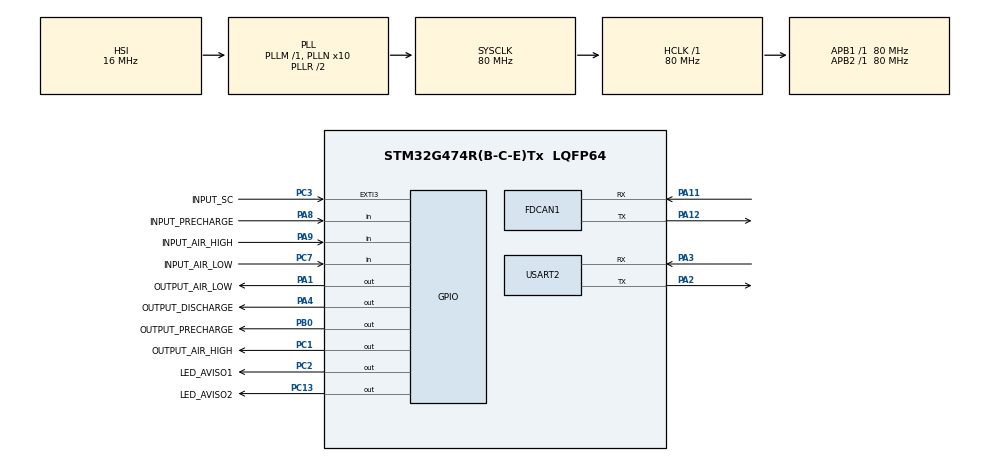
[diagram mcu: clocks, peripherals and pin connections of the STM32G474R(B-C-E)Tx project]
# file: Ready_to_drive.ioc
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FDCAN1.CalculateBaudRateNominal=1666666
FDCAN1.CalculateTimeBitNominal=600
FDCAN1.CalculateTimeQuantumNominal=200.0
FDCAN1.NominalPrescaler=16
FDCAN1.NominalTimeSeg1=1
FDCAN1.NominalTimeSeg2=1
Mcu.Family=STM32G4
Mcu.Name=STM32G474R(B-C-E)Tx
Mcu.Package=LQFP64
NVIC.EXTI3_IRQn=true\:0\:0\:false\:false\:true\:true\:true\:true
NVIC.FDCAN1_IT0_IRQn=true\:1\:0\:true\:false\:true\:true\:true\:true
NVIC.FDCAN1_IT1_IRQn=true\:1\:0\:true\:false\:true\:true\:true\:true
NVIC.PriorityGroup=NVIC_PRIORITYGROUP_4
PA1.GPIO_Label=OUTPUT_AIR_LOW
PA1.Signal=GPIO_Output
PA11.Mode=FDCAN_Activate
PA11.Signal=FDCAN1_RX
PA12.Mode=FDCAN_Activate
PA12.Signal=FDCAN1_TX
PA13.GPIO_Label=T_SWDIO
PA13.Mode=Trace_Asynchronous_SW
PA13.Signal=SYS_JTMS-SWDIO
PA14.GPIO_Label=T_SWCLK
PA14.Mode=Trace_Asynchronous_SW
PA14.Signal=SYS_JTCK-SWCLK
PA2.Mode=Asynchronous
PA2.Signal=USART2_TX
PA3.Mode=Asynchronous
PA3.Signal=USART2_RX
PA4.GPIO_Label=OUTPUT_DISCHARGE
PA4.Signal=GPIO_Output
PA8.GPIO_Label=INPUT_PRECHARGE
PA8.GPIO_PuPd=GPIO_PULLDOWN
PA8.Signal=GPIO_Input
PA9.GPIO_Label=INPUT_AIR_HIGH
PA9.GPIO_PuPd=GPIO_PULLDOWN
PA9.Signal=GPIO_Input
PB0.GPIO_Label=OUTPUT_PRECHARGE
PB0.Signal=GPIO_Output
PB3.GPIO_Label=T_SWO
PB3.Mode=Trace_Asynchronous_SW
PB3.Signal=SYS_JTDO-SWO
PC1.GPIO_Label=OUTPUT_AIR_HIGH
PC1.Signal=GPIO_Output
PC13.GPIO_Label=LED_AVISO2
PC13.Signal=GPIO_Output
PC2.GPIO_Label=LED_AVISO1
PC2.Signal=GPIO_Output
PC3.GPIO_Label=INPUT_SC
PC3.GPIO_ModeDefaultEXTI=GPIO_MODE_IT_RISING_FALLING
PC3.Signal=GPXTI3
PC7.GPIO_Label=INPUT_AIR_LOW
PC7.GPIO_PuPd=GPIO_PULLDOWN
PC7.Signal=GPIO_Input
PF0-OSC_IN.Mode=HSE-External-Clock-Source
PF0-OSC_IN.Signal=RCC_OSC_IN
ProjectManager.HeapSize=0x200
ProjectManager.StackSize=0x400
ProjectManager.TargetToolchain=CMake
RCC.ADC12Freq_Value=80000000
RCC.ADC345Freq_Value=80000000
RCC.AHBFreq_Value=80000000
RCC.APB1Freq_Value=80000000
RCC.APB1TimFreq_Value=80000000
RCC.APB2Freq_Value=80000000
RCC.APB2TimFreq_Value=80000000
RCC.CortexFreq_Value=80000000
RCC.EXTERNAL_CLOCK_VALUE=12288000
RCC.HCLKFreq_Value=80000000
RCC.HSE_VALUE=8000000
RCC.HSI48_VALUE=48000000
RCC.HSI_VALUE=16000000
RCC.LSE_VALUE=32768
RCC.PLLN=10
RCC.RTCClockSelection=RCC_RTCCLKSOURCE_LSE
RCC.SYSCLKFreq_VALUE=80000000
RCC.SYSCLKSource=RCC_SYSCLKSOURCE_PLLCLK
RCC.USBFreq_Value=80000000
RCC.VCOOutputFreq_Value=160000000
USART2.VirtualMode-Asynchronous=VM_ASYNC
VP_SYS_VS_DBSignals.Mode=DisableDeadBatterySignals
board=NUCLEO-G474RE

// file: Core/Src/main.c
/* USER CODE BEGIN Header */
/**
  ******************************************************************************
  * @file           : main.c
  * @brief          : Main program body
  ******************************************************************************
  * @attention
  *
  * Copyright (c) 2026 STMicroelectronics.
  * All rights reserved.
  *
  * This software is licensed under terms that can be found in the LICENSE file
  * in the root directory of this software component.
  * If no LICENSE file comes with this software, it is provided AS-IS.
  *
  ******************************************************************************
  */
/* USER CODE END Header */
#include "main.h"                                                                                                       // Incluye las definiciones generales de la aplicación y del microcontrolador.

#include <stdio.h>                                                                                                      // Habilita las funciones de entrada/salida estándar utilizadas para el diagnóstico por terminal.

#include "estado.h"                                                                                                     // Incluye la interfaz de la máquina de estados del Ready To Drive.
#include "fdcan.h"                                                                                                      // Incluye las funciones de inicialización, recepción y transmisión FDCAN.
#include "usart.h"                                                                                                      // Incluye la configuración de la interfaz UART utilizada por printf().
#include "gpio.h"                                                                                                       // Incluye la configuración de los pines GPIO del sistema.

/* USER CODE BEGIN PD */

/* USER CODE BEGIN PD */

/* Identificador del mensaje R2D */
#define CAN_ID_R2D                 0x0000301BU                                                                          // Id de CAN para el R2D

/* Periodo de transmisión del estado R2D */
#define CAN_R2D_STATUS_PERIOD_MS   100U                                                                                 // Timeout de CAN

/* Máscaras de R2D_RelayStatus - Byte 4 */
#define R2D_AIR_POS_MASK           (1U << 0)                                                                            // Bit 0: Estado AIR+
#define R2D_AIR_NEG_MASK           (1U << 1)                                                                            // Bit 1: Estado AIR-
#define R2D_PRECHARGE_MASK         (1U << 2)                                                                            // Bit 2: Estado del relé de precarga
#define R2D_DISCHARGE_MASK         (1U << 3)                                                                            // Bit 3: Estado del relé de descarga
#define R2D_ACTIVATION_MASK        (1U << 4)                                                                            // Bit 4: Petición de activación R2D desde la VCU

/* USER CODE END PD */

/* USER CODE END PD */

/* USER CODE BEGIN PV */
volatile uint8_t lv_check_pending = 0;                                                                                  // Flag modificada desde la interrupción EXTI para solicitar una nueva comprobación de seguridad LV.
/* USER CODE END PV */

void SystemClock_Config(void);                                                                                          // Prototipo de la función encargada de configurar el reloj del sistema.

/* USER CODE BEGIN 0 */
int __io_putchar(int ch)                                                                                                // Redirige la salida carácter a carácter utilizada por printf hacia la UART2.
{
  HAL_UART_Transmit(&huart2, (uint8_t*)&ch, 1, HAL_MAX_DELAY);                                                          // Transmite por UART2 el carácter recibido y espera hasta completar la operación.
  return ch;                                                                                                            // Devuelve el carácter transmitido para mantener la interfaz esperada por la librería estándar.
}
/* USER CODE END 0 */

int main(void)                                                                                                          // Punto de entrada principal del firmware.
{

  /* MCU Configuration--------------------------------------------------------*/

  /* Reset of all peripherals, Initializes the Flash interface and the Systick. */
  HAL_Init();                                                                                                           // Inicializa HAL, SysTick y los recursos básicos del microcontrolador.

  /* Configure the system clock */
  SystemClock_Config();                                                                                                 // Configura la fuente y distribución del reloj del sistema.

  /* Initialize all configured peripherals */
  MX_GPIO_Init();                                                                                                       // Inicializa las entradas y salidas digitales definidas para la PDU/R2D.
  MX_FDCAN1_Init();                                                                                                     // Inicializa el periférico FDCAN1 con los parámetros configurados.
  MX_USART2_UART_Init();                                                                                                // Inicializa USART2 para disponer de salida de diagnóstico por terminal.
  /* USER CODE BEGIN 2 */
  uint16_t sim_v_inv = 0;    // Voltaje inversor inicial (0V)                                                           // Variable empleada por el bloque de simulación del voltaje del inversor.
  uint16_t sim_v_bat_raw = 32128; // Voltaje batería inicial (corresponde a 0V según offset)                            // Valor bruto inicial empleado por el bloque de simulación de la batería.
  //Implementacion canbus
  /*FDCAN_ConfigFilter();
  FDCAN_Start();
  printf("\r\n=== Ready To Drive - CAN Test ===\r\n");
  uint8_t TxData[8] = {0x01, 0x02, 0x03, 0x04, 0x05, 0x06, 0x07, 0x08};
  FDCAN_SendMessage(0x18FF0001, TxData, FDCAN_DLC_BYTES_8);
  printf("Mensaje CAN enviado ID=0x18FF0001\r\n");*/
  FDCAN_ConfigFilter();                                                                                                 // Configura el filtro de recepción CAN utilizado por la aplicación.
  FDCAN_Start();                                                                                                        // Arranca FDCAN1 y activa la notificación de nuevos mensajes recibidos.
  /*printf("\r\n=== Ready To Drive - CAN Test ===\r\n");                                                                  // Muestra por UART el inicio de la prueba CAN.
  uint8_t TxData[8] = {0x00, 0x00, 0x00, 0x00, 0x00, 0x00, 0x01, 0x86};                                                 // Construye una trama de prueba con el valor situado en los bytes 6 y 7.
  FDCAN_SendMessage(0x00002022, TxData, FDCAN_DLC_BYTES_8);                                                             // Envía la trama de prueba con el identificador empleado para el mensaje del inversor.
  printf("Mensaje CAN enviado \r\n");                                                                                   // Confirma por terminal el envío de la trama de prueba.

  printf("\r\n=== Ready To Drive - CAN Test (BATERIA) ===\r\n");                                                        // Muestra el inicio de la prueba asociada al mensaje de batería.
  // Valor calculado para 400V -> 40128 (0x9CC0)
  // Según la tabla, este valor suele ir en los dos primeros bytes
  uint8_t TxDataBat[8] = {0x9C, 0xC0, 0x00, 0x00, 0x00, 0x00, 0x00, 0x00};                                              // Construye la trama de batería utilizada durante la prueba de recepción.
  // Enviamos con el ID del sistema de batería (ejemplo: 0x18FF5E00)
  // Asegúrate de usar el ID correcto que espera tu receptor
  FDCAN_SendMessage(0x18FF5E00, TxDataBat, FDCAN_DLC_BYTES_8);                                                          // Envía la trama de prueba con el identificador definido para la tensión de batería.
  printf("Mensaje CAN Bateria (400V) enviado con ID=0x18FF5E00\r\n");                                                   // Informa por terminal del envío del mensaje de batería simulado.

  uint8_t TxDataActivacion[8] = {0x01, 0x02, 0x03, 0x04, 0x05, 0x06, 0x07, 0x08};                                       // Construye la trama empleada para simular la orden de activación R2D.
  FDCAN_SendMessage(0x18FF0001, TxDataActivacion, FDCAN_DLC_BYTES_8);                                                   // Envía la orden de activación que será detectada por el callback de recepción.
  printf("[TEST] Mensaje CAN OK enviado (ID=0x18FF0001)\r\n");                                                          // Confirma por terminal el envío de la trama de activación.*/

  estado_inicial_HV();                                                                                                  // Establece la condición inicial de los relés del sistema de alta tensión.
  verificar_estado_LV();                                                                                                // Realiza la primera comprobación del circuito de seguridad de baja tensión.

  /* USER CODE END 2 */

  /* Infinite loop */
  /* USER CODE BEGIN WHILE */
  while (1)                                                                                                             // Bucle principal que ejecuta de forma continua la lógica de supervisión y estados.
  {
    /* USER CODE END WHILE */

    /* USER CODE BEGIN 3 */

    /* --- SIMULADOR DE MENSAJES CAN --- */

    // 1. Simular Inversor (ID 0x2022) - Sube de 5 en 5V hasta 400V
    /*uint8_t TxDataInv[8] = {0, 0, 0, 0, 0, 0, (uint8_t)(sim_v_inv >> 8), (uint8_t)(sim_v_inv & 0xFF)};
    FDCAN_SendMessage(0x00002022, TxDataInv, FDCAN_DLC_BYTES_8);

    sim_v_inv += 5;
    if (sim_v_inv > 400) sim_v_inv = 0;

    HAL_Delay(500); // Pausa para no saturar el log

    // 2. Simular Batería (ID 0x18FF5E00) - Sube de 10 en 10 bits
    uint8_t TxDataBat[8] = {(uint8_t)(sim_v_bat_raw >> 8), (uint8_t)(sim_v_bat_raw & 0xFF), 0, 0, 0, 0, 0, 0};
    FDCAN_SendMessage(0x18FF5E00, TxDataBat, FDCAN_DLC_BYTES_8);

    sim_v_bat_raw += 10;
    if (sim_v_bat_raw > 45000) sim_v_bat_raw = 32128; // Reiniciar al llegar a ~640V
    */

    // --- LOG DE RECEPCIÓN ---
    if(can_ok)                                                                                                          // Comprueba si el callback CAN ha detectado la orden de activación.
    {
      printf("\r\n[CAN RX] ID: 0x%08lX | Inv: %lu mV | Bat: %lu mV\r\n",                                                // Muestra por terminal el identificador recibido y los valores de tensión disponibles.
             RxHeader.Identifier, voltaje_inversor_mV, voltaje_bateria_mV);
    /**
    *  @attention can_ok ya NO se pone a 0 aquí. Solo estado_espera()
    *  (en estado.c) debe consumirla, para no robarle la flag a la máquina
    *  de estados.
    * */
    }

    if (lv_check_pending) {                                                                                             // Comprueba si la interrupción GPIO ha solicitado volver a evaluar la seguridad LV.
      lv_check_pending = 0;                                                                                             // Consume la petición pendiente para evitar repetir la comprobación sin un nuevo evento.
      verificar_estado_LV();                                                                                            // Ejecuta la comprobación del circuito de seguridad tras el evento EXTI.
    }
    estado_maquina();                                                                                                   // Ejecuta una iteración de la máquina de estados del sistema R2D.
    FDCAN_SendR2DStatus();                                                                                              // Ejecuta la función para mandar los valores del R2D
  }
  /* USER CODE END 3 */
}

void SystemClock_Config(void)                                                                                           // Configura el árbol de reloj utilizado por el microcontrolador.
{
  RCC_OscInitTypeDef RCC_OscInitStruct = {0};                                                                           // Estructura HAL que contiene la configuración de los osciladores y del PLL.
  RCC_ClkInitTypeDef RCC_ClkInitStruct = {0};                                                                           // Estructura HAL que contiene la distribución del reloj hacia CPU y buses.

  /** Configure the main internal regulator output voltage
  */
  HAL_PWREx_ControlVoltageScaling(PWR_REGULATOR_VOLTAGE_SCALE1);                                                        // Selecciona la escala de tensión interna del regulador para la frecuencia configurada.

  /** Initializes the RCC Oscillators according to the specified parameters
  * in the RCC_OscInitTypeDef structure.
  */
  RCC_OscInitStruct.OscillatorType = RCC_OSCILLATORTYPE_HSI;                                                            // Selecciona el oscilador interno HSI como fuente base.
  RCC_OscInitStruct.HSIState = RCC_HSI_ON;                                                                              // Activa el oscilador interno HSI.
  RCC_OscInitStruct.HSICalibrationValue = RCC_HSICALIBRATION_DEFAULT;                                                   // Mantiene el valor de calibración HSI predeterminado por HAL.
  RCC_OscInitStruct.PLL.PLLState = RCC_PLL_ON;                                                                          // Activa el PLL para generar el reloj del sistema.
  RCC_OscInitStruct.PLL.PLLSource = RCC_PLLSOURCE_HSI;                                                                  // Utiliza HSI como señal de entrada del PLL.
  RCC_OscInitStruct.PLL.PLLM = RCC_PLLM_DIV1;                                                                           // Configura el divisor de entrada M del PLL.
  RCC_OscInitStruct.PLL.PLLN = 10;                                                                                      // Configura el multiplicador N del PLL.
  RCC_OscInitStruct.PLL.PLLP = RCC_PLLP_DIV2;                                                                           // Configura la salida P del PLL.
  RCC_OscInitStruct.PLL.PLLQ = RCC_PLLQ_DIV2;                                                                           // Configura la salida Q del PLL.
  RCC_OscInitStruct.PLL.PLLR = RCC_PLLR_DIV2;                                                                           // Configura la salida R del PLL utilizada por el reloj del sistema.
  if (HAL_RCC_OscConfig(&RCC_OscInitStruct) != HAL_OK)                                                                  // Aplica la configuración del oscilador y comprueba el resultado devuelto por HAL.
  {
    Error_Handler();                                                                                                    // Invoca el manejador de error si falla la configuración del oscilador.
  }

  /** Initializes the CPU, AHB and APB buses clocks
  */
  RCC_ClkInitStruct.ClockType = RCC_CLOCKTYPE_HCLK|RCC_CLOCKTYPE_SYSCLK                                                 // Selecciona los dominios de reloj que serán configurados.
                              |RCC_CLOCKTYPE_PCLK1|RCC_CLOCKTYPE_PCLK2;
  RCC_ClkInitStruct.SYSCLKSource = RCC_SYSCLKSOURCE_PLLCLK;                                                             // Selecciona la salida del PLL como reloj principal del sistema.
  RCC_ClkInitStruct.AHBCLKDivider = RCC_SYSCLK_DIV1;                                                                    // Mantiene HCLK sin división respecto al reloj del sistema.
  RCC_ClkInitStruct.APB1CLKDivider = RCC_HCLK_DIV1;                                                                     // Mantiene PCLK1 sin división respecto a HCLK.
  RCC_ClkInitStruct.APB2CLKDivider = RCC_HCLK_DIV1;                                                                     // Mantiene PCLK2 sin división respecto a HCLK.

  if (HAL_RCC_ClockConfig(&RCC_ClkInitStruct, FLASH_LATENCY_2) != HAL_OK)                                               // Aplica la configuración de buses y la latencia de Flash indicada.
  {
    Error_Handler();                                                                                                    // Invoca el manejador de error si la configuración de reloj no puede aplicarse.
  }
}

/* USER CODE BEGIN 4 */
void HAL_GPIO_EXTI_Callback(uint16_t GPIO_Pin){                                                                         // Callback ejecutado por HAL al producirse una interrupción externa GPIO.
  lv_check_pending = 1;                                                                                                 // Marca como pendiente una nueva comprobación del circuito de seguridad LV.
}
/* USER CODE END 4 */

void Error_Handler(void)                                                                                                // Manejador global utilizado cuando una operación HAL crítica devuelve error.
{
  /* USER CODE BEGIN Error_Handler_Debug */
  /* User can add his own implementation to report the HAL error return state */
  __disable_irq();                                                                                                      // Deshabilita las interrupciones para dejar el sistema detenido en una condición controlada.
  while (1)                                                                                                             // Mantiene la ejecución bloqueada tras detectarse un error crítico.
  {
  }
  /* USER CODE END Error_Handler_Debug */
}
